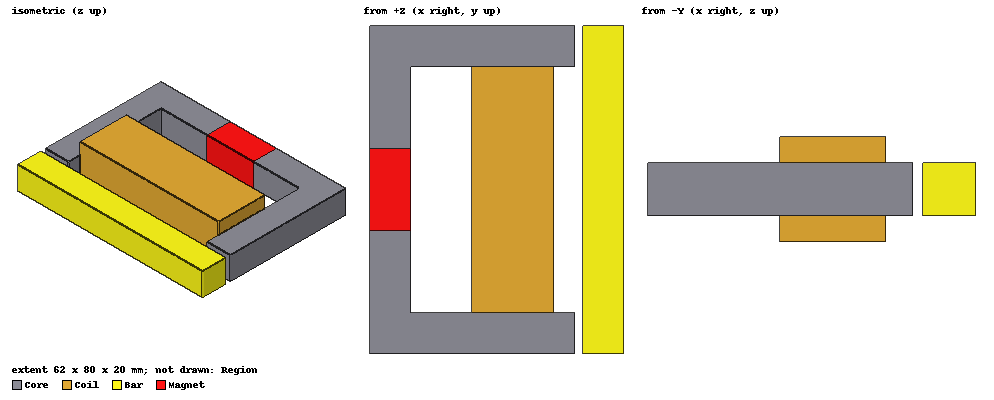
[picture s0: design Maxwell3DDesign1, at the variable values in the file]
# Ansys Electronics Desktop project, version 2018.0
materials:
  vacuum: permittivity=1
  steel_1008: permeability{BType=normal HUnit=A_per_meter BUnit=tesla curve (0, 0) (159.2, 0.2402) (318.3, 0.8654) (477.5, 1.1106) (636.6, 1.2458) (795.8, 1.331) (1591.5, 1.5) (3183.1, 1.6) (4774.6, 1.683) (6366.2, 1.741) (7957.7, 1.78) (15915.5, 1.905) (31831, 2.025) (47746.5, 2.085) (63662, 2.13) (79577.5, 2.165) (159155, 2.28) (318310, 2.485) (397887, 2.5851)} conductivity=2000000
  copper: permeability=0.999991 conductivity=58000000
  NdFe35: permittivity=1 permeability=1.0997785 conductivity=625000 magnetic_coercivity{Magnitude=-890000A_per_meter DirComp1=1 DirComp2=0 DirComp3=0} lande_g_factor=2

design Maxwell3DDesign1 (Maxwell 3D, Magnetostatic, model units mm)
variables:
  mx = 1mm
  c1 = 500A
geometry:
  Core [steel_1008] = box(corner=(0mm, 0mm, -5mm), size=(10mm, -30mm, 10mm))
  Box1_1 = Core.duplicate_along_line(step=(30mm, 0mm, 0mm), total=2)
  Box2 = box(corner=(0mm, -30mm, -5mm), size=(50mm, -10mm, 10mm))
  Core.unite(Box1_1, Box2)
  Core_1 = Core.duplicate_mirror(point=(0mm, 0mm, 0mm), normal=(0mm, 1mm, 0mm))
  Core.unite(Core_1)
  Bar [steel_1008] = box(corner=(51mm+mx, -40mm, -5mm), size=(10mm, 80mm, 10mm))
  Coil [copper] = box(corner=(45mm, 30mm, 10mm), size=(-20mm, -60mm, -20mm))
  Core_2 = Core.copy()
  Coil.subtract(Core_2)
  Magnet [NdFe35, oriented by FaceCS1] = box(corner=(0mm, -10mm, -5mm), size=(10mm, 20mm, 10mm))
  Magnet_1 = Magnet.copy()
  Core.subtract(Magnet_1)
  coordinate_system FaceCS1 = face of Magnet: Origin=Magnet.vertex(2 of 8) FaceID=Magnet.face(+z) AxisPosn=Magnet.vertex(1 of 8) WhichAxis=X
  Coil_terminal [copper] = Coil.section(plane=XY)
  Coil_terminal.separate_bodies()
  Region [vacuum] = region(percentage_offset=50 on all sides)
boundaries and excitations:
  Insulating_coil: Insulating Objects=Coil
  Coil_current: Current Objects=Coil_terminal Current=c1 IsSolid=false Point_out_of_terminal=false
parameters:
  Force1: Force Reference_CS=Global Is_Virtual=true Objects=Bar
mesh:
  initial mesh: GlobalCurvilinear{Apply}
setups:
  Setup1: Magnetostatic MaximumPasses=10 MinimumPasses=2 MinimumConvergedPasses=1 PercentRefinement=30 PercentError=1 NonLinearResidual=0.001
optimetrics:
  ParametricSetup1: Parametric Sim._Setups=[Setup1]
    sweep c1: LIN 0A 500A 100A
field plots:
  B_Vector1: B over a plane on Setup1 : LastAdaptive
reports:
  Force Plot 1: Force_x vs c1 on Setup1 : LastAdaptive
